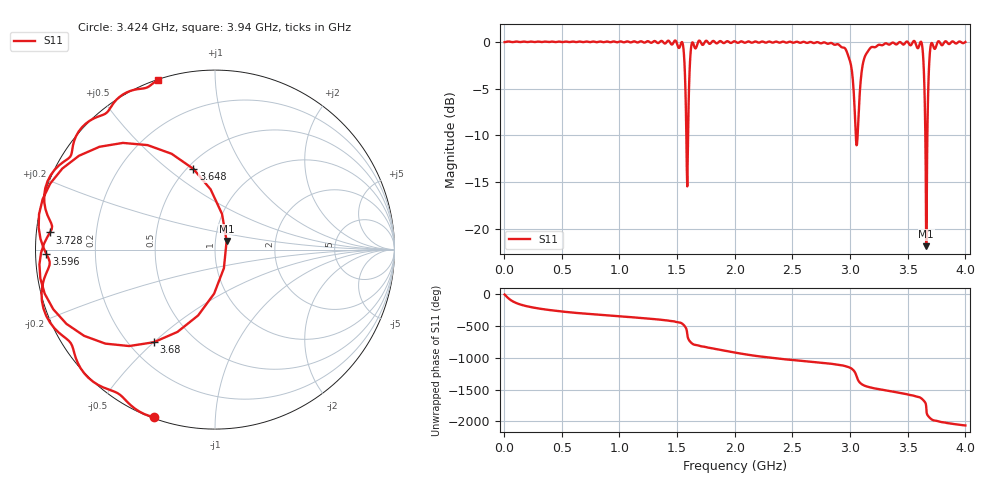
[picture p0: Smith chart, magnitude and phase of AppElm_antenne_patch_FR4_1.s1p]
! TOUCHSTONE file generated by CST MICROWAVE STUDIO
! Date and time: Tue Jun  7 19:07:14 2022
! Project name: AppElm_antenne_patch_FR4.cst
! Parameters = {L=45; W=43.875; e=0.035; h=1.6; lambda=0.190476; ls=120; w0=1.6; w1=0.533333; ws=120; y0=20; y1=23.8095}
! Header version: 2018
! Port assignment regex: !\s*Touchstone port\s*([0-9]+)\s*=\s*(CST MWS port|CST DS port)\s*([0-9]+|Zmin|Zmax)\s*\(\"(.*)\"\)(\s*mode\s*([0-9]+))?.*
! Touchstone port assignment:
! Touchstone port 1 = CST MWS port 1 ("")
# GHz S MA R 50
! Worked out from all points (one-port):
!   1000 points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, 4 MHz to 4 GHz, reference 50 ohm
!   lowest |S11| = -21.9 dB at 3.66 GHz (marker M1), VSWR 1.18, Z = 56.6 + j5.48 ohm
!   |S11| at or under -10 dB: 1.58 GHz to 1.595 GHz (14.98 MHz wide, 0.944 % of centre); 3.05 GHz to 3.065 GHz (15.46 MHz wide, 0.506 % of centre); 3.652492 GHz to 3.67034 GHz (17.85 MHz wide, 0.487 % of centre)
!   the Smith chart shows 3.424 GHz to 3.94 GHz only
!   S11 on the Smith chart (normalised r, x): 3.424 GHz: 0.01, -0.70; 3.596 GHz: 0.03, -0.01; 3.648 GHz: 0.54, +0.62; 3.68 GHz: 0.30, -0.50; 3.728 GHz: 0.04, +0.05; 3.94 GHz: 0.00, +0.72
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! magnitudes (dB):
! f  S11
! 4 MHz  0.0
! 504 MHz  0.0
! 1.004 GHz  0.0
! 1.504 GHz  -0.4
! 1.548 GHz  -0.2
! 1.576 GHz  -7.2
! 1.588 GHz  -15.5
! 1.6 GHz  -6.5
! 1.62 GHz  -0.7
! 1.636 GHz  -0.1
! 2.004 GHz  0.0
! 2.504 GHz  -0.1
! 2.896 GHz  -0.3
! 3.004 GHz  -2.3
! 3.06 GHz  -11.0
! 3.104 GHz  -2.9
! 3.14 GHz  -1.3
! 3.424 GHz  -0.1
! 3.504 GHz  -0.1
! 3.596 GHz  -0.5
! 3.628 GHz  -0.7
! 3.648 GHz  -6.6
! 3.66 GHz  -21.9
! 3.68 GHz  -4.2
! 3.696 GHz  -0.7
! 3.728 GHz  -0.7
! 3.94 GHz  0.0
! 4 GHz  0.0
